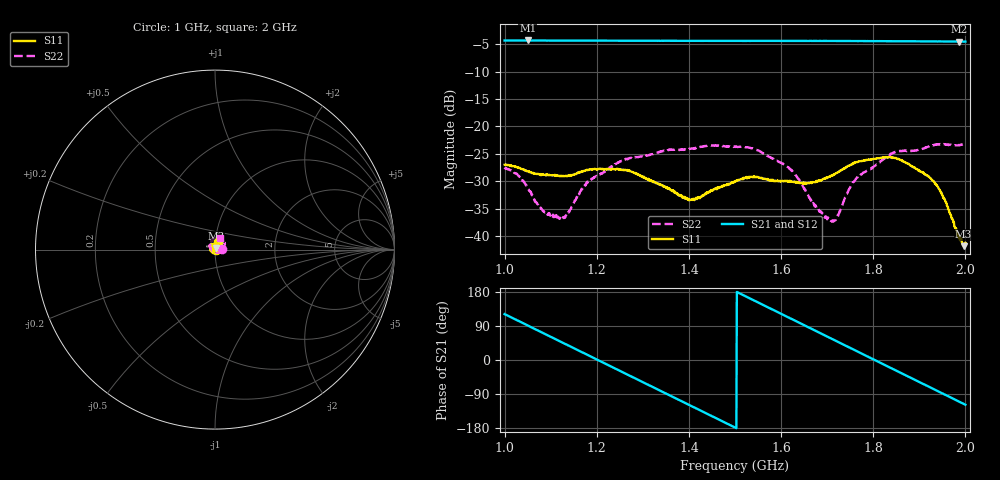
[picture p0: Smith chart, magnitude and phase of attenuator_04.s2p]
#  HZ  S  DB  R  50.00
! Rohde & Schwarz Vector Network Analyzer
! Rohde-Schwarz,ZNB8-4Port,1311601044102961,2.82
! Created: UTC 3/4/2022, 3:50:41 PM
! freq[Hz]  db:S11  ang:S11  db:S21  ang:S21  db:S12  ang:S12  db:S22  ang:S22
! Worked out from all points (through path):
!   1001 points, 1 GHz to 2 GHz, reference 50 ohm
!   highest |S21| = -4.28 dB at 1.05 GHz (marker M1); lowest = -4.5 dB at 1.987 GHz (marker M2)
!   group delay of S21, straight-line fit = 1.66 ns
!   lowest |S11| = -41.9 dB at 1.996 GHz (marker M3), VSWR 1.02, Z = 50.4 + j0.709 ohm
!   |S11| at or under -10 dB: start of sweep to end of sweep
!   |S22| runs from -37.4 to -23.1 dB; largest |S21 - S12| = 0.0022
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1e9  -27.00 71.5  -4.29 121.1  -4.27 121.1  -27.52 8.3
1.05e9  -28.22 57.9  -4.28 91.2  -4.29 91.2  -31.27 -22.3
1.084e9  -28.78 56.1  -4.29 70.9  -4.29 70.8  -35.49 -66.0
1.124e9  -29.07 50.8  -4.30 46.9  -4.29 46.9  -36.74 -134.9
1.167e9  -28.24 44.7  -4.30 21.1  -4.30 21.2  -31.39 163.1
1.243e9  -27.76 16.9  -4.32 -24.3  -4.32 -24.3  -26.79 120.2
1.334e9  -30.55 -45.5  -4.34 -78.8  -4.33 -78.8  -24.67 90.9
1.408e9  -33.43 -129.2  -4.35 -123.1  -4.34 -123.1  -23.99 72.3
1.457e9  -31.33 174.0  -4.35 -152.4  -4.35 -152.4  -23.51 59.8
1.5e9  -30.10 139.2  -4.36 -178.2  -4.36 -178.1  -23.67 43.2
1.544e9  -29.23 114.9  -4.36 155.6  -4.35 155.5  -24.19 27.0
1.593e9  -29.88 97.1  -4.36 126.2  -4.36 126.1  -26.34 1.8
1.627e9  -30.17 91.1  -4.36 105.8  -4.36 105.8  -28.46 -15.8
1.667e9  -30.27 95.6  -4.37 81.7  -4.36 81.8  -33.72 -55.8
1.715e9  -28.82 93.4  -4.37 52.9  -4.37 53.0  -37.22 -146.2
1.762e9  -26.56 85.0  -4.39 24.7  -4.39 24.7  -29.65 151.7
1.834e9  -25.64 58.1  -4.41 -18.5  -4.41 -18.5  -25.28 111.7
1.928e9  -29.76 17.7  -4.44 -74.9  -4.45 -74.8  -23.48 83.5
1.953e9  -33.01 14.3  -4.46 -89.9  -4.46 -89.9  -23.21 81.2
1.987e9  -40.10 41.1  -4.48 -110.3  -4.47 -110.3  -23.43 73.3
1.996e9  -41.89 60.9  -4.48 -115.6  -4.48 -115.6  -23.27 70.6
2e9  -41.28 71.3  -4.48 -118.0  -4.48 -118.0  -23.11 68.9
